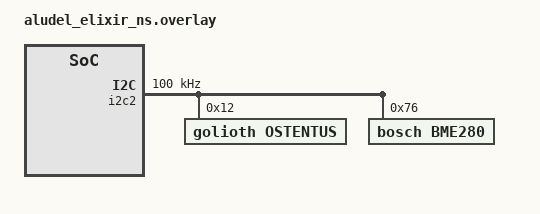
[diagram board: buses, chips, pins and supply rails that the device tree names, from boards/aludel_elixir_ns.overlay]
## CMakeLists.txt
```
# Copyright (c) 2022-2023 Golioth, Inc.
# SPDX-License-Identifier: Apache-2.0

cmake_minimum_required(VERSION 3.20.0)

if((BOARD STREQUAL nrf9160dk_nrf9160) OR (BOARD STREQUAL nrf9160dk_nrf9160_ns))
  set(SHIELD "arduino_uno_click")
endif()

find_package(Zephyr REQUIRED HINTS $ENV{ZEPHYR_BASE})

project(air_quality)

zephyr_include_directories(external/sensirion/embedded-common/common)
zephyr_include_directories(external/sensirion/embedded-common/i2c)
zephyr_include_directories(external/sensirion/embedded-i2c-scd4x)
zephyr_include_directories(external/sensirion/embedded-sps/sps-common)
zephyr_include_directories(external/sensirion/embedded-sps/sps30-i2c)

target_sources(app PRIVATE src/main.c)
target_sources(app PRIVATE src/app_rpc.c)
target_sources(app PRIVATE src/app_settings.c)
target_sources(app PRIVATE src/app_state.c)
target_sources(app PRIVATE src/app_sensors.c)
target_sources(app PRIVATE src/sensor_bme280.c)
target_sources(app PRIVATE src/sensor_scd4x.c)
target_sources(app PRIVATE src/sensor_sps30.c)
target_sources(app PRIVATE external/sensirion/embedded-common/common/sensirion_common.c)
target_sources(app PRIVATE external/sensirion/embedded-common/i2c/sensirion_i2c_hal.c)
target_sources(app PRIVATE external/sensirion/embedded-common/i2c/sensirion_i2c.c)
target_sources(app PRIVATE external/sensirion/embedded-i2c-scd4x/scd4x_i2c.c)
target_sources(app PRIVATE external/sensirion/embedded-sps/sps30-i2c/sps30.c)
```

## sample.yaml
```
# Copyright (c) 2022-2023 Golioth, Inc.
# SPDX-License-Identifier: Apache-2.0

sample:
  description: Golioth Reference Design - Air Quality Monitor
  name: air_quality
common:
  harness: net
  platform_allow: >
    nrf9160dk_nrf9160_ns
  tags: golioth
```

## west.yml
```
# Copyright (c) 2022-2023 Golioth, Inc.
# SPDX-License-Identifier: Apache-2.0

manifest:
  version: 1.0

  projects:
    - name: golioth
      path: modules/lib/golioth-firmware-sdk
      revision: v0.21.0
      url: https://github.com/golioth/golioth-firmware-sdk.git
      west-commands: scripts/west-commands.yml
      submodules: true
      import:
        file: west-ncs.yml
        path-prefix: deps
        name-allowlist:
          - nrf
          - zephyr
          - cmsis_6
          - hal_nordic
          - mbedtls
          - mbedtls-nrf
          - mcuboot
          - net-tools
          - nrfxlib
          - oberon-psa-crypto
          - qcbor
          - segger
          - tfm-mcuboot
          - tinycrypt
          - trusted-firmware-m
          - zcbor

    - name: golioth-zephyr-boards
      path: deps/modules/lib/golioth-boards
      revision: v2.1.1
      url: https://github.com/golioth/golioth-zephyr-boards

    - name: libostentus
      path: deps/modules/lib/libostentus
      revision: v2.0.0
      url: https://github.com/golioth/libostentus

    - name: zephyr-network-info
      path: deps/modules/lib/network-info
      revision: v1.2.0
      url: https://github.com/golioth/zephyr-network-info

    - name: golioth-battery-monitor
      path: deps/modules/lib/battery-monitor
      revision: v1.1.0
      url: https://github.com/golioth/battery-monitor

    - name: sensirion-embedded-common
      path: app/external/sensirion/embedded-common
      revision: 08c9924e33b69b650fa36eed6cbdd29479d25ab6
      url: https://github.com/golioth/sensirion-embedded-common.git

    - name: sensirion-embedded-i2c-scd4x
      path: app/external/sensirion/embedded-i2c-scd4x
      revision: fbfd86e8ea371894ae6473c48cf4f425c54360f0
      url: https://github.com/golioth/sensirion-embedded-i2c-scd4x.git

    - name: sensirion-embedded-sps
      path: app/external/sensirion/embedded-sps
      revision: ef781982b917249ebdafd30673b281b7c3f0764a
      url: https://github.com/golioth/sensirion-embedded-sps.git
  self:
    path: app
```

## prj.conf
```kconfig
# Copyright (c) 2022-2023 Golioth, Inc.
# SPDX-License-Identifier: Apache-2.0

# Enable Golioth Firmware SDK
CONFIG_GOLIOTH_FIRMWARE_SDK=y

# Golioth services used in this app
CONFIG_GOLIOTH_FW_UPDATE=y
CONFIG_GOLIOTH_LIGHTDB_STATE=y
CONFIG_LOG_BACKEND_GOLIOTH=y
CONFIG_GOLIOTH_RPC=y
CONFIG_GOLIOTH_SETTINGS=y
CONFIG_GOLIOTH_STREAM=y

# Increase the CoAP request queue size to prevent requests failing to enqueue
# (e.g. when the firmware boots and initially tries to connect to Golioth).
CONFIG_GOLIOTH_COAP_REQUEST_QUEUE_MAX_ITEMS=12

# Enable common sample library
CONFIG_GOLIOTH_SAMPLE_COMMON=y

# Configure Golioth SDK dependencies
CONFIG_ZVFS_EVENTFD_MAX=14
CONFIG_ZVFS_OPEN_MAX=23
CONFIG_LOG_PROCESS_THREAD_STACK_SIZE=1536
CONFIG_MBEDTLS_ENABLE_HEAP=y
CONFIG_MBEDTLS_HEAP_SIZE=10240
CONFIG_NETWORKING=y
CONFIG_NET_IPV4=y
CONFIG_COAP_EXTENDED_OPTIONS_LEN=y
CONFIG_COAP_EXTENDED_OPTIONS_LEN_VALUE=39

# Application
CONFIG_MAIN_STACK_SIZE=2048
CONFIG_NET_LOG=y
CONFIG_NET_SHELL=y
CONFIG_REBOOT=y

# Flash memory (etc.) for firmware upgrade
CONFIG_FLASH=y
CONFIG_FLASH_MAP=y
CONFIG_NVS=y
CONFIG_STREAM_FLASH=y
CONFIG_IMG_MANAGER=y
CONFIG_IMG_ERASE_PROGRESSIVELY=y
CONFIG_REBOOT=y

# The rest of the runtime credentials config
CONFIG_SETTINGS=y
CONFIG_SETTINGS_RUNTIME=y
CONFIG_GOLIOTH_SAMPLE_SETTINGS_AUTOLOAD=y
CONFIG_GOLIOTH_SAMPLE_SETTINGS_SHELL=y

# Misc.
CONFIG_JSON_LIBRARY=y

# Longer response length needed for network info
CONFIG_GOLIOTH_RPC_MAX_RESPONSE_LEN=512
# Longer log buffer needed for sps30
CONFIG_LOG_BACKEND_GOLIOTH_MAX_LOG_STRING_SIZE=320
CONFIG_I2C=y
CONFIG_SENSOR=y

# Floating point support for snprintk()
CONFIG_CBPRINTF_FP_SUPPORT=y
```

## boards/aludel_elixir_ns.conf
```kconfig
# Copyright (c) 2024 Golioth, Inc.
# SPDX-License-Identifier: Apache-2.0

# Battery Support
CONFIG_ALUDEL_BATTERY_MONITOR=y

# Turn on regulator to power click headers
CONFIG_REGULATOR=y

# Use a unique package name to use with Packages/Cohorts/Deployments
CONFIG_GOLIOTH_FW_UPDATE_PACKAGE_NAME="aludel_elixir"
```

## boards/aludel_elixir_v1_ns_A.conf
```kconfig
# Copyright (c) 2023 Golioth, Inc.
# SPDX-License-Identifier: Apache-2.0

# General config
CONFIG_HEAP_MEM_POOL_SIZE=4096
CONFIG_NEWLIB_LIBC=y
CONFIG_CBPRINTF_FP_SUPPORT=y

# Networking
CONFIG_NET_SOCKETS_OFFLOAD=y
CONFIG_NET_IPV6=y
CONFIG_NET_IPV6_NBR_CACHE=n
CONFIG_NET_IPV6_MLD=n

# Increase native TLS socket implementation, so that it is chosen instead of
# offloaded nRF91 sockets
CONFIG_NET_SOCKETS_TLS_PRIORITY=35

# Modem library
CONFIG_NRF_MODEM_LIB=y
CONFIG_NRF_MODEM_LIB_ON_FAULT_APPLICATION_SPECIFIC=y

# LTE connectivity with network connection manager
CONFIG_LTE_CONNECTIVITY=y
CONFIG_NET_CONNECTION_MANAGER=y
CONFIG_NET_CONNECTION_MANAGER_MONITOR_STACK_SIZE=1024

# Increased sysworkq size, due to LTE connectivity
CONFIG_SYSTEM_WORKQUEUE_STACK_SIZE=2048

# Disable options y-selected by NCS for no good reason
CONFIG_MBEDTLS_KEY_EXCHANGE_DHE_PSK_ENABLED=n
CONFIG_MBEDTLS_KEY_EXCHANGE_DHE_RSA_ENABLED=n

# Add Network Info Support
CONFIG_MODEM_INFO=y
CONFIG_GOLIOTH_RPC_MAX_RESPONSE_LEN=512

# Generate MCUboot compatible images
CONFIG_BOOTLOADER_MCUBOOT=y

# Use Golioth Ostentus Faceplate
CONFIG_LIB_OSTENTUS=y
```

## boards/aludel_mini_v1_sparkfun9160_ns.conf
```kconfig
# Copyright (c) 2022 Golioth, Inc.
# SPDX-License-Identifier: Apache-2.0

# General config
CONFIG_HEAP_MEM_POOL_SIZE=4096
CONFIG_NEWLIB_LIBC=y

# Networking
CONFIG_NET_NATIVE=n
CONFIG_NET_SOCKETS_OFFLOAD=y

# Increase native TLS socket implementation, so that it is chosen instead of
# offloaded nRF91 sockets
CONFIG_NET_SOCKETS_TLS_PRIORITY=35

# LTE link control
CONFIG_LTE_LINK_CONTROL=y
CONFIG_LTE_AUTO_INIT_AND_CONNECT=n

# Modem library
CONFIG_NRF_MODEM_LIB=y

# Use NCS fork of mbedTLS, as Zephyr built-in mbedTLS integration (CONFIG_MBEDTLS_BUILTIN) is in
# conflict with CONFIG_NRF_SECURITY
CONFIG_MBEDTLS_TLS_LIBRARY=y
CONFIG_MBEDTLS_SSL_PROTO_DTLS=y
CONFIG_MBEDTLS_GCM_C=y
# ... and disable options y-selected by NCS for no good reason
CONFIG_MBEDTLS_KEY_EXCHANGE_DHE_PSK_ENABLED=n
CONFIG_MBEDTLS_KEY_EXCHANGE_DHE_RSA_ENABLED=n
# ... also increase heap size to "high enough to make it work"
CONFIG_MBEDTLS_HEAP_SIZE=49152

# Battery Support
CONFIG_ALUDEL_BATTERY_MONITOR=y

# Add Network Info Support
CONFIG_MODEM_INFO=y
CONFIG_GOLIOTH_RPC_MAX_RESPONSE_LEN=512
```

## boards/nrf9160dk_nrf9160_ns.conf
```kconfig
# Use a unique package name to use with Packages/Cohorts/Deployments
CONFIG_GOLIOTH_FW_UPDATE_PACKAGE_NAME="nrf9160dk"
```

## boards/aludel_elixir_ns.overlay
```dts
/ {
	aliases {
		sensirion-hal-i2c = &i2c2;
	};
};

&i2c2 {
	/* Needed for I2C writes used by libostentus */
	zephyr,concat-buf-size = <48>;

	ostentus@12 {
		status = "okay";
		compatible = "golioth,ostentus";
		reg = <0x12>;
	};

	/* SPS30 max clock frequency is 100 kbit/s */
	clock-frequency = <I2C_BITRATE_STANDARD>;

	bme280: bme280@76 {
		compatible = "bosch,bme280";
		reg = <0x76>;
	};
};
```

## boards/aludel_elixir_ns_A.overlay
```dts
/*
 * Copyright (c) 2024 Golioth, Inc.
 *
 * SPDX-License-Identifier: Apache-2.0
 */

/ {
	aliases {
		sensirion-hal-i2c = &mikrobus_i2c;
	};
};

&mikrobus_i2c {
	status = "okay";
	/* SPS30 max clock frequency is 100 kbit/s */
	clock-frequency = <I2C_BITRATE_STANDARD>;

	bme280: bme280@76 {
		compatible = "bosch,bme280";
		reg = <0x76>;
	};
};
```

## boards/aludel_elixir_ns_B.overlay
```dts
/*
 * Copyright (c) 2024 Golioth, Inc.
 *
 * SPDX-License-Identifier: Apache-2.0
 */

/ {
	aliases {
		sensirion-hal-i2c = &mikrobus_i2c;
	};
};

&mikrobus_i2c {
	status = "okay";
	/* SPS30 max clock frequency is 100 kbit/s */
	clock-frequency = <I2C_BITRATE_STANDARD>;
};
```

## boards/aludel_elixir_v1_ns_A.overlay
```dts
/*
 * Copyright (c) 2023 Golioth, Inc.
 *
 * SPDX-License-Identifier: Apache-2.0
 */

mikrobus_i2c: &i2c2 {};

&mikrobus_i2c {
	bme280: bme280@76 {
		compatible = "bosch,bme280";
		reg = <0x76>;
	};
};
```

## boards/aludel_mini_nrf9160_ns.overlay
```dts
/ {
	aliases {
		sensirion-hal-i2c = &mikrobus_i2c;
	};
};

&mikrobus_i2c {
	/* Needed for I2C writes used by libostentus */
	zephyr,concat-buf-size = <48>;

	ostentus@12 {
		status = "okay";
		compatible = "golioth,ostentus";
		reg = <0x12>;
	};

	/* SPS30 max clock frequency is 100 kbit/s */
	clock-frequency = <I2C_BITRATE_STANDARD>;

	bme280: bme280@76 {
		compatible = "bosch,bme280";
		reg = <0x76>;
	};
};
```

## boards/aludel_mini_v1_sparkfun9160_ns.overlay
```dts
/*
 * Copyright (c) 2023 Golioth, Inc.
 *
 * SPDX-License-Identifier: Apache-2.0
 */

&i2c1 {
	status = "okay";

	/* SPS30 max clock frequency is 100 kbit/s */
	clock-frequency = <I2C_BITRATE_STANDARD>;

	bme280: bme280@76 {
		compatible = "bosch,bme280";
		reg = <0x76>;
	};
};
```

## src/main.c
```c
/*
 * Copyright (c) 2022-2023 Golioth, Inc.
 *
 * SPDX-License-Identifier: Apache-2.0
 */

#include <zephyr/logging/log.h>
#include <zephyr/logging/log_ctrl.h>
LOG_MODULE_REGISTER(golioth_air_quality, LOG_LEVEL_DBG);

#include <app_version.h>
#include "app_rpc.h"
#include "app_settings.h"
#include "app_state.h"
#include "app_sensors.h"
#include "sensor_scd4x.h"
#include "sensor_sps30.h"
#include <golioth/client.h>
#include <golioth/fw_update.h>
#include <samples/common/net_connect.h>
#include <samples/common/sample_credentials.h>
#include <zephyr/kernel.h>

#ifdef CONFIG_SOC_SERIES_NRF91X
#include <modem/lte_lc.h>
#endif
#ifdef CONFIG_LIB_OSTENTUS
#include <libostentus.h>
#include <libostentus_regmap.h>
static const struct device *o_dev = DEVICE_DT_GET_ANY(golioth_ostentus);
#endif
#ifdef CONFIG_ALUDEL_BATTERY_MONITOR
#include <battery_monitor.h>
#endif

#include <zephyr/drivers/gpio.h>

#ifdef CONFIG_MODEM_INFO
#include <modem/modem_info.h>
#endif

/* Current firmware version; update in VERSION */
static const char *_current_version =
	STRINGIFY(APP_VERSION_MAJOR) "." STRINGIFY(APP_VERSION_MINOR) "." STRINGIFY(APP_PATCHLEVEL);

static struct golioth_client *client;
K_SEM_DEFINE(connected, 0, 1);

static k_tid_t _system_thread = 0;

#if DT_NODE_EXISTS(DT_ALIAS(golioth_led))
static const struct gpio_dt_spec golioth_led = GPIO_DT_SPEC_GET(DT_ALIAS(golioth_led), gpios);
#endif /* DT_NODE_EXISTS(DT_ALIAS(golioth_led)) */
static const struct gpio_dt_spec user_btn = GPIO_DT_SPEC_GET(DT_ALIAS(sw1), gpios);
static struct gpio_callback button_cb_data;

/* Forward declarations */
void golioth_connection_led_set(uint8_t state);

void wake_system_thread(void)
{
	k_wakeup(_system_thread);
}

static void on_client_event(struct golioth_client *client, enum golioth_client_event event,
			    void *arg)
{
	bool is_connected = (event == GOLIOTH_CLIENT_EVENT_CONNECTED);

	if (is_connected) {
		k_sem_give(&connected);
		golioth_connection_led_set(1);
	}
	LOG_INF("Golioth client %s", is_connected ? "connected" : "disconnected");
}

static void start_golioth_client(void)
{
	/* Get the client configuration from auto-loaded settings */
	const struct golioth_client_config *client_config = golioth_sample_credentials_get();

	/* Create and start a Golioth Client */
	client = golioth_client_create(client_config);

	/* Register Golioth on_connect callback */
	golioth_client_register_event_callback(client, on_client_event, NULL);

	/* Initialize DFU components */
	golioth_fw_update_init(client, _current_version);

	/*** Call Golioth APIs for other services in dedicated app files ***/

	/* Observe State service data */
	app_state_observe(client);

	/* Set Golioth Client for streaming sensor data */
	app_sensors_set_client(client);

	/* Register Settings service */
	app_settings_register(client);

	/* Register RPC service */
	app_rpc_register(client);
}

#ifdef CONFIG_SOC_SERIES_NRF91X

static void lte_handler(const struct lte_lc_evt *const evt)
{
	if (evt->type == LTE_LC_EVT_NW_REG_STATUS) {

		if ((evt->nw_reg_status == LTE_LC_NW_REG_REGISTERED_HOME) ||
		    (evt->nw_reg_status == LTE_LC_NW_REG_REGISTERED_ROAMING)) {

			/* Change the state of the Internet LED on Ostentus */
			IF_ENABLED(CONFIG_LIB_OSTENTUS, (ostentus_led_internet_set(o_dev, 1);));

			if (!client) {
				/* Create and start a Golioth Client */
				start_golioth_client();
			}
		}
	}
}

#endif /* CONFIG_SOC_SERIES_NRF91X */

#ifdef CONFIG_MODEM_INFO
static void log_modem_firmware_version(void)
{
	char sbuf[128];

	/* Initialize modem info */
	int err = modem_info_init();

	if (err) {
		LOG_ERR("Failed to initialize modem info: %d", err);
	}

	/* Log modem firmware version */
	modem_info_string_get(MODEM_INFO_FW_VERSION, sbuf, sizeof(sbuf));
	LOG_INF("Modem firmware version: %s", sbuf);
}
#endif

void button_pressed(const struct device *dev, struct gpio_callback *cb, uint32_t pins)
{
	LOG_DBG("Button pressed at %d", k_cycle_get_32());
	/* This function is an Interrupt Service Routine. Do not call functions that
	 * use other threads, or perform long-running operations here
	 */
	k_wakeup(_system_thread);
}

/* Set (unset) LED indicators for active Golioth connection */
void golioth_connection_led_set(uint8_t state)
{
	uint8_t pin_state = state ? 1 : 0;
	ARG_UNUSED(pin_state); /* silence warning if no LED/Ostentus present */

	/* Turn on Golioth logo LED once connected */
	IF_ENABLED(DT_NODE_EXISTS(DT_ALIAS(golioth_led)),
		(gpio_pin_set_dt(&golioth_led, pin_state);));

	/* Change the state of the Golioth LED on Ostentus */
	IF_ENABLED(CONFIG_LIB_OSTENTUS, (ostentus_led_golioth_set(o_dev, pin_state);));
}

int main(void)
{
	int err;

	LOG_DBG("Started air quality monitor app");

	LOG_INF("Firmware version: %s", _current_version);
	IF_ENABLED(CONFIG_MODEM_INFO, (log_modem_firmware_version();));

	IF_ENABLED(CONFIG_LIB_OSTENTUS, (
		/* Reset Ostentus and pause for reboot */
		ostentus_reset(o_dev);
		k_msleep(300);

		/* Read firmware version from faceplate */
		char *o_version = (char *)calloc(32, sizeof(char));

		ostentus_version_get(o_dev, o_version, 32);
		LOG_INF("Ostentus reports firmware version: %s", o_version);
		free(o_version);

		/* Update Ostentus LEDS using bitmask (Power On and Battery) */
		ostentus_led_bitmask(o_dev, LED_POW | LED_BAT);

		/* Show Golioth Logo on Ostentus ePaper screen */
		ostentus_show_splash(o_dev);
	));

	/* Get system thread id so loop delay change event can wake main */
	_system_thread = k_current_get();

#if DT_NODE_EXISTS(DT_ALIAS(golioth_led))
	/* Initialize Golioth logo LED */
	err = gpio_pin_configure_dt(&golioth_led, GPIO_OUTPUT_INACTIVE);
	if (err) {
		LOG_ERR("Unable to configure LED for Golioth Logo");
	}
#endif /* DT_NODE_EXISTS(DT_ALIAS(golioth_led)) */

#ifdef CONFIG_SOC_SERIES_NRF91X
	/* Start LTE asynchronously if the nRF9160 is used.
	 * Golioth Client will start automatically when LTE connects
	 */

	LOG_INF("Connecting to LTE, this may take some time...");
	lte_lc_connect_async(lte_handler);

#else
	/* If nRF9160 is not used, start the Golioth Client and block until connected */

	/* Run WiFi/DHCP if necessary */
	if (IS_ENABLED(CONFIG_GOLIOTH_SAMPLE_COMMON)) {
		net_connect();
	}

	/* Start Golioth client */
	start_golioth_client();

	/* Block until connected to Golioth */
	k_sem_take(&connected, K_FOREVER);
#endif /* CONFIG_SOC_SERIES_NRF91X */

	/* Initialize sensors */
	app_sensors_init();

	/* Set up user button */
	err = gpio_pin_configure_dt(&user_btn, GPIO_INPUT);
	if (err) {
		LOG_ERR("Error %d: failed to configure %s pin %d", err, user_btn.port->name,
			user_btn.pin);
		return err;
	}

	err = gpio_pin_interrupt_configure_dt(&user_btn, GPIO_INT_EDGE_TO_ACTIVE);
	if (err) {
		LOG_ERR("Error %d: failed to configure interrupt on %s pin %d", err,
			user_btn.port->name, user_btn.pin);
		return err;
	}

	gpio_init_callback(&button_cb_data, button_pressed, BIT(user_btn.pin));
	gpio_add_callback(user_btn.port, &button_cb_data);

	IF_ENABLED(CONFIG_LIB_OSTENTUS, (
		/* Set up a slideshow on Ostentus
		 *  - add up to 256 slides
		 *  - use the enum in app_sensors.h to add new keys
		 *  - values are updated using these keys (see app_sensors.c)
		 */
		ostentus_slide_add(o_dev, CO2, LABEL_CO2, strlen(LABEL_CO2));
		ostentus_slide_add(o_dev, PM2P5, LABEL_PM2P5, strlen(LABEL_PM2P5));
		ostentus_slide_add(o_dev, PM10P0, LABEL_PM10P0, strlen(LABEL_PM10P0));
		ostentus_slide_add(o_dev,
				   TEMPERATURE,
				   LABEL_TEMPERATURE,
				   strlen(LABEL_TEMPERATURE));
		ostentus_slide_add(o_dev, PRESSURE, LABEL_PRESSURE, strlen(LABEL_PRESSURE));
		ostentus_slide_add(o_dev, HUMIDITY, LABEL_HUMIDITY, strlen(LABEL_HUMIDITY));

		IF_ENABLED(CONFIG_ALUDEL_BATTERY_MONITOR, (
			ostentus_slide_add(o_dev,
					   BATTERY_V,
					   LABEL_BATTERY,
					   strlen(LABEL_BATTERY));
			ostentus_slide_add(o_dev,
					   BATTERY_PCT,
					   LABEL_BATTERY,
					   strlen(LABEL_BATTERY));
		));

		ostentus_slide_add(o_dev, FIRMWARE, LABEL_FIRMWARE, strlen(LABEL_FIRMWARE));

		/* Set the title of the Ostentus summary slide (optional) */
		ostentus_summary_title(o_dev, SUMMARY_TITLE, strlen(SUMMARY_TITLE));

		/* Update the Firmware slide with the firmware version */
		ostentus_slide_set(o_dev, FIRMWARE, (char *)_current_version,
			  strlen(_current_version));

		/* Start Ostentus slideshow with 30 second delay between slides */
		ostentus_slideshow(o_dev, 30000);
	));

	while (true) {
		app_sensors_read_and_stream();

		k_sleep(K_SECONDS(get_loop_delay_s()));
	}

	return 0;
}
```

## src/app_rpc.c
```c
/*
 * Copyright (c) 2022-2023 Golioth, Inc.
 *
 * SPDX-License-Identifier: Apache-2.0
 */

#include <zephyr/logging/log.h>
LOG_MODULE_REGISTER(app_rpc, LOG_LEVEL_DBG);

#include <golioth/client.h>
#include <golioth/rpc.h>
#include <zephyr/logging/log_ctrl.h>
#include <zephyr/sys/reboot.h>
#ifdef CONFIG_NETWORK_INFO
#include <network_info.h>
#endif

#include <zcbor_common.h>

#include "app_rpc.h"
#include "sensor_scd4x.h"
#include "sensor_sps30.h"

static void reboot_work_handler(struct k_work *work)
{
	for (int8_t i = 5; i >= 0; i--) {
		if (i) {
			LOG_INF("Rebooting in %d seconds...", i);
		}
		k_sleep(K_SECONDS(1));
	}

	/* Sync logs before reboot */
	LOG_PANIC();

	sys_reboot(SYS_REBOOT_COLD);
}
K_WORK_DEFINE(reboot_work, reboot_work_handler);

static void clean_pm_sensor_work_handler(struct k_work *work)
{
	sps30_sensor_clean_fan();
}
K_WORK_DEFINE(clean_pm_sensor_work, clean_pm_sensor_work_handler);

static void reset_pm_sensor_work_handler(struct k_work *work)
{
	sps30_sensor_init();
}
K_WORK_DEFINE(reset_pm_sensor_work, reset_pm_sensor_work_handler);

static enum golioth_rpc_status on_get_network_info(zcbor_state_t *request_params_array,
						   zcbor_state_t *response_detail_map,
						   void *callback_arg)
{
	COND_CODE_1(CONFIG_NETWORK_INFO,
		    (network_info_add_to_map(response_detail_map); return GOLIOTH_RPC_OK;),
		    (return GOLIOTH_RPC_UNIMPLEMENTED););
}

static enum golioth_rpc_status on_set_log_level(zcbor_state_t *request_params_array,
						zcbor_state_t *response_detail_map,
						void *callback_arg)
{
	double param_0;
	uint8_t log_level;
	bool ok;

	LOG_WRN("on_set_log_level");

	ok = zcbor_float_decode(request_params_array, &param_0);
	if (!ok) {
		LOG_ERR("Failed to decode array item");
		return GOLIOTH_RPC_INVALID_ARGUMENT;
	}

	log_level = (uint8_t)param_0;

	if ((log_level < 0) || (log_level > LOG_LEVEL_DBG)) {

		LOG_ERR("Requested log level is out of bounds: %d", log_level);
		return GOLIOTH_RPC_INVALID_ARGUMENT;
	}

	int source_id = 0;
	char *source_name;

	while (1) {
		source_name = (char *)log_source_name_get(0, source_id);
		if (source_name == NULL) {
			break;
		}

		log_filter_set(NULL, 0, source_id, log_level);
		++source_id;
	}

	LOG_WRN("Log levels for %d modules set to: %d", source_id, log_level);

	ok = zcbor_tstr_put_lit(response_detail_map, "log_modules") &&
	     zcbor_float64_put(response_detail_map, (double)source_id);

	return GOLIOTH_RPC_OK;
}

static enum golioth_rpc_status on_reboot(zcbor_state_t *request_params_array,
					 zcbor_state_t *response_detail_map, void *callback_arg)
{
	/* Use work queue so this RPC can return confirmation to Golioth */
	k_work_submit(&reboot_work);

	return GOLIOTH_RPC_OK;
}

static enum golioth_rpc_status on_clean_pm_sensor(zcbor_state_t *request_params_array,
						  zcbor_state_t *response_detail_map,
						  void *callback_arg)
{
	k_work_submit(&clean_pm_sensor_work);

	return GOLIOTH_RPC_OK;
}

static enum golioth_rpc_status on_reset_pm_sensor(zcbor_state_t *request_params_array,
						  zcbor_state_t *response_detail_map,
						  void *callback_arg)
{
	k_work_submit(&reset_pm_sensor_work);

	return GOLIOTH_RPC_OK;
}

static void rpc_log_if_register_failure(int err)
{
	if (err) {
		LOG_ERR("Failed to register RPC: %d", err);
	}
}

void app_rpc_register(struct golioth_client *client)
{
	struct golioth_rpc *rpc = golioth_rpc_init(client);

	int err;

	err = golioth_rpc_register(rpc, "get_network_info", on_get_network_info, NULL);
	rpc_log_if_register_failure(err);

	err = golioth_rpc_register(rpc, "reboot", on_reboot, NULL);
	rpc_log_if_register_failure(err);

	err = golioth_rpc_register(rpc, "set_log_level", on_set_log_level, NULL);
	rpc_log_if_register_failure(err);

	err = golioth_rpc_register(rpc, "clean_pm_sensor", on_clean_pm_sensor, NULL);
	rpc_log_if_register_failure(err);

	err = golioth_rpc_register(rpc, "reset_pm_sensor", on_reset_pm_sensor, NULL);
	rpc_log_if_register_failure(err);
}
```

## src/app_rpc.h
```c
/*
 * Copyright (c) 2022-2023 Golioth, Inc.
 *
 * SPDX-License-Identifier: Apache-2.0
 */

/**
 * Handle remote procedure calls received from Golioth, returning a status code
 * indicating the success or failure of the call.
 *
 * https://docs.golioth.io/firmware/zephyr-device-sdk/remote-procedure-call
 */

#ifndef __APP_RPC_H__
#define __APP_RPC_H__

#include <golioth/client.h>

void app_rpc_register(struct golioth_client *client);

#endif /* __APP_RPC_H__ */
```

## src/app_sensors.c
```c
/*
 * Copyright (c) 2022-2023 Golioth, Inc.
 *
 * SPDX-License-Identifier: Apache-2.0
 */

#include <zephyr/logging/log.h>
LOG_MODULE_REGISTER(app_sensors, LOG_LEVEL_DBG);

#include <golioth/client.h>
#include <golioth/stream.h>
#include <zcbor_encode.h>
#include <zephyr/drivers/gpio.h>
#include <zephyr/kernel.h>
#include <zephyr/drivers/sensor.h>

#include "app_sensors.h"
#include "sensor_bme280.h"
#include "sensor_scd4x.h"
#include "sensor_sps30.h"

#ifdef CONFIG_LIB_OSTENTUS
#include <libostentus.h>
static const struct device *o_dev = DEVICE_DT_GET_ANY(golioth_ostentus);
#endif
#ifdef CONFIG_ALUDEL_BATTERY_MONITOR
#include <battery_monitor.h>
#endif

static struct golioth_client *client;

/* Formatting string for sending sensor JSON to Golioth */
/* clang-format off */
#define JSON_FMT \
"{" \
	"\"tem\":%f," \
	"\"pre\":%f," \
	"\"hum\":%f," \
	"\"co2\":%u," \
	"\"mc_1p0\":%f," \
	"\"mc_2p5\":%f," \
	"\"mc_4p0\":%f," \
	"\"mc_10p0\":%f," \
	"\"nc_0p5\":%f," \
	"\"nc_1p0\":%f," \
	"\"nc_2p5\":%f," \
	"\"nc_4p0\":%f," \
	"\"nc_10p0\":%f," \
	"\"tps\":%f" \
"}"
/* clang-format on */

#define JSON_BUF_SIZE 512

void app_sensors_init(void)
{
	/* Initialize weather sensor */
	bme280_sensor_init();

	/* Initialize CO₂ sensor */
	scd4x_sensor_init();

	/* Initialize PM sensor */
	sps30_sensor_init();
}

/* Callback for LightDB Stream */
static void async_error_handler(struct golioth_client *client, enum golioth_status status,
				const struct golioth_coap_rsp_code *coap_rsp_code, const char *path,
				void *arg)
{
	if (status != GOLIOTH_OK) {
		LOG_ERR("Async task failed: %d", status);
		return;
	}
}

/* This will be called by the main() loop */
/* Do all of your work here! */
void app_sensors_read_and_stream(void)
{
	int err;
	static struct bme280_sensor_measurement bme280_sm;
	static struct scd4x_sensor_measurement scd4x_sm;
	static struct sps30_sensor_measurement sps30_sm;

	/* Golioth custom hardware for demos */
	IF_ENABLED(CONFIG_ALUDEL_BATTERY_MONITOR, (
		LOG_DBG("Collecting battery measurements...");
		read_and_report_battery(client);
		IF_ENABLED(CONFIG_LIB_OSTENTUS, (
			ostentus_slide_set(o_dev,
					   BATTERY_V,
					   get_batt_v_str(),
					   strlen(get_batt_v_str()));
			ostentus_slide_set(o_dev,
					   BATTERY_PCT,
					   get_batt_pct_str(),
					   strlen(get_batt_pct_str()));
		));
	));

	LOG_DBG("Collecting sensor measurements...");

	/* Read the weather sensor */
	err = bme280_sensor_read(&bme280_sm);
	if (err) {
		LOG_ERR("Failed to read from Weather Sensor BME280: %d", err);
	} else {
		bme280_log_measurements(&bme280_sm);
	}

	/* Read the CO₂ sensor */
	err = scd4x_sensor_read(&scd4x_sm);
	if (err) {
		LOG_ERR("Failed to read from Co2 Sensor SCD4x: %d", err);
	} else {
		scd4x_log_measurements(&scd4x_sm);
	}

	/* Read the PM sensor */
	err = sps30_sensor_read(&sps30_sm);
	if (err) {
		LOG_ERR("Failed to read from PM Sensor SPS30: %d", err);
	} else {
		sps30_log_measurements(&sps30_sm);
	}

	/* Send sensor data to Golioth */
	char *json_buf = malloc(sizeof(char) * JSON_BUF_SIZE);

	if (!json_buf) {
		LOG_ERR("Unable to allocate memory for JSON buffer. Reading will not be sent.");
		return;
	}

	if (golioth_client_is_connected(client)) {
		LOG_DBG("Sending sensor data to Golioth");

		snprintk(json_buf, JSON_BUF_SIZE, JSON_FMT,
			sensor_value_to_double(&bme280_sm.temperature),
			sensor_value_to_double(&bme280_sm.pressure),
			sensor_value_to_double(&bme280_sm.humidity), scd4x_sm.co2,
			sensor_value_to_double(&sps30_sm.mc_1p0), sensor_value_to_double(&sps30_sm.mc_2p5),
			sensor_value_to_double(&sps30_sm.mc_4p0),
			sensor_value_to_double(&sps30_sm.mc_10p0),
			sensor_value_to_double(&sps30_sm.nc_0p5), sensor_value_to_double(&sps30_sm.nc_1p0),
			sensor_value_to_double(&sps30_sm.nc_2p5), sensor_value_to_double(&sps30_sm.nc_4p0),
			sensor_value_to_double(&sps30_sm.nc_10p0),
			sensor_value_to_double(&sps30_sm.typical_particle_size));

		/* LOG_DBG("%s", json_buf); */

		err = golioth_stream_set_async(client,
					"sensor",
					GOLIOTH_CONTENT_TYPE_JSON,
					json_buf,
					strlen(json_buf),
					async_error_handler,
					NULL);
		if (err) {
			LOG_ERR("Failed to send sensor data to Golioth: %d", err);
		}
	} else {
		LOG_WRN("Device is not connected to Golioth, unable to send sensor data");
	}


	/* Golioth custom hardware for demos */
	IF_ENABLED(CONFIG_LIB_OSTENTUS, (
		/* Update slide values on Ostentus
		 *  -values should be sent as strings
		 *  -use the enum from app_sensors.h for slide key values
		 */
		snprintk(json_buf, JSON_BUF_SIZE, "%.2f °C",
			 sensor_value_to_double(&bme280_sm.temperature));
		ostentus_slide_set(o_dev, TEMPERATURE, json_buf, strlen(json_buf));

		snprintk(json_buf, JSON_BUF_SIZE, "%.2f kPa",
			 sensor_value_to_double(&bme280_sm.pressure));
		ostentus_slide_set(o_dev, PRESSURE, json_buf, strlen(json_buf));

		snprintk(json_buf, JSON_BUF_SIZE, "%.2f %%RH",
			 sensor_value_to_double(&bme280_sm.humidity));
		ostentus_slide_set(o_dev, HUMIDITY, json_buf, strlen(json_buf));

		snprintk(json_buf, JSON_BUF_SIZE, "%u ppm", scd4x_sm.co2);
		ostentus_slide_set(o_dev, CO2, json_buf, strlen(json_buf));

		snprintk(json_buf, JSON_BUF_SIZE, "%d ug/m^3", sps30_sm.mc_2p5.val1);
		ostentus_slide_set(o_dev, PM2P5, json_buf, strlen(json_buf));

		snprintk(json_buf, JSON_BUF_SIZE, "%d ug/m^3", sps30_sm.mc_10p0.val1);
		ostentus_slide_set(o_dev, PM10P0, json_buf, strlen(json_buf));
	));

	free(json_buf);
}

void app_sensors_set_client(struct golioth_client *sensors_client)
{
	client = sensors_client;
}
```

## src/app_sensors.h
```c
/*
 * Copyright (c) 2023 Golioth, Inc.
 *
 * SPDX-License-Identifier: Apache-2.0
 */

#ifndef __APP_SENSORS_H__
#define __APP_SENSORS_H__

/** The `app_sensors.c` file performs the important work of this application
 * which is to read sensor values and report them to the Golioth LightDB Stream
 * as time-series data.
 *
 * https://docs.golioth.io/firmware/zephyr-device-sdk/light-db-stream/
 */

#include <golioth/client.h>

void app_sensors_init(void);
void app_sensors_set_client(struct golioth_client *sensors_client);
void app_sensors_read_and_stream(void);

#define LABEL_TEMPERATURE "Temperature"
#define LABEL_PRESSURE	  "Pressure"
#define LABEL_HUMIDITY	  "Humidity"
#define LABEL_CO2	  "CO2"
#define LABEL_PM2P5	  "PM2.5"
#define LABEL_PM10P0	  "PM10.0"
#define LABEL_BATTERY	  "Battery"
#define LABEL_FIRMWARE	  "Firmware"
#define SUMMARY_TITLE	  "Air Quality"

/**
 * Each Ostentus slide needs a unique key. You may add additional slides by
 * inserting elements with the name of your choice to this enum.
 */
typedef enum {
	TEMPERATURE,
	PRESSURE,
	HUMIDITY,
	CO2,
	PM2P5,
	PM10P0,
#ifdef CONFIG_ALUDEL_BATTERY_MONITOR
	BATTERY_V,
	BATTERY_PCT,
#endif
	FIRMWARE
} slide_key;

#endif /* __APP_SENSORS_H__ */
```

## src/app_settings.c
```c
/*
 * Copyright (c) 2022-2023 Golioth, Inc.
 *
 * SPDX-License-Identifier: Apache-2.0
 */

#include <zephyr/logging/log.h>
LOG_MODULE_REGISTER(app_settings, LOG_LEVEL_DBG);

#include <golioth/client.h>
#include <golioth/settings.h>
#include "main.h"
#include "app_settings.h"
#include "sensor_scd4x.h"
#include "sensor_sps30.h"

static int32_t _loop_delay_s = 60;
#define LOOP_DELAY_S_MAX 43200
#define LOOP_DELAY_S_MIN 1

static int32_t _scd4x_temperature_offset_s = 4;
static uint16_t _scd4x_altitude_s;
static bool _scd4x_asc_s = true;
static uint32_t _sps30_samples_per_measurement_s = 30;
static uint32_t _sps30_cleaning_interval_s = 604800;

int32_t get_loop_delay_s(void)
{
	return _loop_delay_s;
}

int32_t get_scd4x_temperature_offset_s(void)
{
	return _scd4x_temperature_offset_s;
}

uint16_t get_scd4x_altitude_s(void)
{
	return _scd4x_altitude_s;
}

bool get_scd4x_asc_s(void)
{
	return _scd4x_asc_s;
}

uint32_t get_sps30_samples_per_measurement_s(void)
{
	return _sps30_samples_per_measurement_s;
}

uint32_t get_sps30_cleaning_interval_s(void)
{
	return _sps30_cleaning_interval_s;
}

/* Work items for settings that need to be written to hardware sensors */
static void scd4x_sensor_set_temperature_offset_work_handler(struct k_work *work)
{
	scd4x_sensor_set_temperature_offset(_scd4x_temperature_offset_s);
}
K_WORK_DEFINE(scd4x_sensor_set_temperature_offset_work,
	      scd4x_sensor_set_temperature_offset_work_handler);

static void scd4x_sensor_set_sensor_altitude_work_handler(struct k_work *work)
{
	scd4x_sensor_set_sensor_altitude(_scd4x_altitude_s);
}
K_WORK_DEFINE(scd4x_sensor_set_sensor_altitude_work, scd4x_sensor_set_sensor_altitude_work_handler);

static void scd4x_sensor_set_automatic_self_calibration_work_handler(struct k_work *work)
{
	scd4x_sensor_set_automatic_self_calibration(_scd4x_asc_s);
}
K_WORK_DEFINE(scd4x_sensor_set_automatic_self_calibration_work,
	      scd4x_sensor_set_automatic_self_calibration_work_handler);

static void sps30_sensor_set_fan_auto_cleaning_interval_work_handler(struct k_work *work)
{
	sps30_sensor_set_fan_auto_cleaning_interval(_sps30_cleaning_interval_s);
}
K_WORK_DEFINE(sps30_sensor_set_fan_auto_cleaning_interval_work,
	      sps30_sensor_set_fan_auto_cleaning_interval_work_handler);

static enum golioth_settings_status on_loop_delay_setting(int32_t new_value, void *arg)
{
	_loop_delay_s = new_value;
	LOG_INF("Set loop delay to %i seconds", new_value);
	wake_system_thread();
	return GOLIOTH_SETTINGS_SUCCESS;
}

static enum golioth_settings_status on_scd4x_temperature_offset_setting(int32_t new_value,
									void *arg)
{
	_scd4x_temperature_offset_s = new_value;
	LOG_INF("Set SCD4x temperature offset to %i degrees", _scd4x_temperature_offset_s);
	/* Submit a work item to write this setting to the sensor */
	k_work_submit(&scd4x_sensor_set_temperature_offset_work);
	return GOLIOTH_SETTINGS_SUCCESS;
}

static enum golioth_settings_status on_scd4x_altitude_setting(int32_t new_value, void *arg)
{
	_scd4x_altitude_s = (uint16_t)new_value;
	LOG_INF("Set SCD4x altitude to %u feet", _scd4x_altitude_s);
	/* Submit a work item to write this setting to the sensor */
	k_work_submit(&scd4x_sensor_set_sensor_altitude_work);
	return GOLIOTH_SETTINGS_SUCCESS;
}

static enum golioth_settings_status on_scd4x_asc_setting(bool new_value, void *arg)
{
	_scd4x_asc_s = new_value;
	LOG_INF("Set SCD4x ASC to %s", _scd4x_asc_s ? "true" : "false");
	/* Submit a work item to write this setting to the sensor */
	k_work_submit(&scd4x_sensor_set_automatic_self_calibration_work);
	return GOLIOTH_SETTINGS_SUCCESS;
}

static enum golioth_settings_status on_sps30_samples_per_measurement_setting(int32_t new_value,
									     void *arg)
{
	_sps30_samples_per_measurement_s = (uint32_t)new_value;
	LOG_INF("Set SPS30 samples per measurement to %i", _sps30_samples_per_measurement_s);
	return GOLIOTH_SETTINGS_SUCCESS;
}

static enum golioth_settings_status on_sps30_cleaning_interval_setting(int32_t new_value, void *arg)
{
	_sps30_cleaning_interval_s = (uint32_t)new_value;
	LOG_INF("Set SPS30 cleaning interval to %i seconds", _sps30_cleaning_interval_s);
	/* Submit a work item to write this setting to the sensor */
	k_work_submit(&sps30_sensor_set_fan_auto_cleaning_interval_work);
	return GOLIOTH_SETTINGS_SUCCESS;
}

int app_settings_register(struct golioth_client *client)
{
	int err;

	struct golioth_settings *settings = golioth_settings_init(client);

	err = golioth_settings_register_int_with_range(settings,
							   "LOOP_DELAY_S",
							   LOOP_DELAY_S_MIN,
							   LOOP_DELAY_S_MAX,
							   on_loop_delay_setting,
							   NULL);
	if (err) {
		LOG_ERR("Failed to register on_loop_delay_setting callback: %d", err);
		return err;
	}

	err = golioth_settings_register_int_with_range(settings,
							   "CO2_SENSOR_TEMPERATURE_OFFSET",
							   INT32_MIN,
							   INT32_MAX,
							   on_scd4x_temperature_offset_setting,
							   NULL);
	if (err) {
		LOG_ERR("Failed to register on_scd4x_temperature_offset_setting callback: %d", err);
		return err;
	}

	err = golioth_settings_register_int_with_range(settings,
							   "CO2_SENSOR_ALTITUDE",
							   0,
							   UINT16_MAX,
							   on_scd4x_altitude_setting,
							   NULL);
	if (err) {
		LOG_ERR("Failed to register on_scd4x_altitude_setting callback: %d", err);
		return err;
	}

	err = golioth_settings_register_bool(settings,
						 "CO2_SENSOR_ASC_ENABLE",
						 on_scd4x_asc_setting,
						 NULL);
	if (err) {
		LOG_ERR("Failed to register on_scd4x_asc_setting callback: %d", err);
		return err;
	}

	err = golioth_settings_register_int_with_range(settings,
							   "PM_SENSOR_SAMPLES_PER_MEASUREMENT",
							   0,
							   INT32_MAX,
							   on_sps30_samples_per_measurement_setting,
							   NULL);
	if (err) {
		LOG_ERR("Failed to register on_sps30_samples_per_measurement_setting callback: %d",
			err);
			return err;
	}

	err = golioth_settings_register_int_with_range(settings,
							   "PM_SENSOR_AUTO_CLEANING_INTERVAL",
							   0,
							   INT32_MAX,
							   on_sps30_cleaning_interval_setting,
							   NULL);
	if (err) {
		LOG_ERR("Failed to register on_sps30_cleaning_interval_setting callback: %d", err);
		return err;
	}

	return 0;
}
```

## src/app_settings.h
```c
/*
 * Copyright (c) 2022-2023 Golioth, Inc.
 *
 * SPDX-License-Identifier: Apache-2.0
 */

/**
 * Process changes received from the Golioth Settings Service and return a code
 * to Golioth to indicate the success or failure of the update.
 *
 * https://docs.golioth.io/firmware/zephyr-device-sdk/device-settings-service
 */

#ifndef __APP_SETTINGS_H__
#define __APP_SETTINGS_H__

#include <stdint.h>
#include <golioth/client.h>

int32_t get_loop_delay_s(void);
int app_settings_register(struct golioth_client *client);
int32_t get_scd4x_temperature_offset_s(void);
uint16_t get_scd4x_altitude_s(void);
bool get_scd4x_asc_s(void);
uint32_t get_sps30_samples_per_measurement_s(void);

#endif /* __APP_SETTINGS_H__ */
```

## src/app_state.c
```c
/*
 * Copyright (c) 2022-2023 Golioth, Inc.
 *
 * SPDX-License-Identifier: Apache-2.0
 */

#include <zephyr/logging/log.h>
LOG_MODULE_REGISTER(app_state, LOG_LEVEL_DBG);

#include <golioth/client.h>
#include <golioth/lightdb_state.h>
#include <zephyr/data/json.h>
#include <zephyr/kernel.h>
#include "json_helper.h"

#include "app_state.h"
#include "app_sensors.h"

#define DEVICE_STATE_FMT "{\"example_int0\":%d,\"example_int1\":%d}"

static uint32_t _example_int0;
static uint32_t _example_int1 = 1;

static struct golioth_client *client;

static void async_handler(struct golioth_client *client,
			  enum golioth_status status,
			  const struct golioth_coap_rsp_code *coap_rsp_code,
			  const char *path,
			  void *arg)
{
	if (status != GOLIOTH_OK) {
		LOG_WRN("Failed to set state: %d", status);
		return;
	}

	LOG_DBG("State successfully set");
}

int app_state_reset_desired(void)
{
	LOG_INF("Resetting \"%s\" LightDB State endpoint to defaults.", APP_STATE_DESIRED_ENDP);

	char sbuf[sizeof(DEVICE_STATE_FMT) + 4]; /* space for two "-1" values */

	snprintk(sbuf, sizeof(sbuf), DEVICE_STATE_FMT, -1, -1);

	int err;
	err = golioth_lightdb_set_async(client,
					APP_STATE_DESIRED_ENDP,
					GOLIOTH_CONTENT_TYPE_JSON,
					sbuf,
					strlen(sbuf),
					async_handler,
					NULL);
	if (err) {
		LOG_ERR("Unable to write to LightDB State: %d", err);
	}

	return err;
}

int app_state_update_actual(void)
{

	char sbuf[sizeof(DEVICE_STATE_FMT) + 10]; /* space for uint16 values */

	snprintk(sbuf, sizeof(sbuf), DEVICE_STATE_FMT, _example_int0, _example_int1);

	int err;

	err = golioth_lightdb_set_async(client,
					APP_STATE_ACTUAL_ENDP,
					GOLIOTH_CONTENT_TYPE_JSON,
					sbuf,
					strlen(sbuf),
					async_handler,
					NULL);

	if (err) {
		LOG_ERR("Unable to write to LightDB State: %d", err);
	}

	return err;
}

static void app_state_desired_handler(struct golioth_client *client, enum golioth_status status,
				      const struct golioth_coap_rsp_code *coap_rsp_code,
				      const char *path, const uint8_t *payload, size_t payload_size,
				      void *arg)
{
	int err = 0;
	int ret;

	if (status != GOLIOTH_OK) {
		LOG_ERR("Failed to receive '%s' endpoint: %d", APP_STATE_DESIRED_ENDP, status);
		return;
	}

	LOG_HEXDUMP_DBG(payload, payload_size, APP_STATE_DESIRED_ENDP);

	struct app_state parsed_state;

	ret = json_obj_parse((char *)payload, payload_size, app_state_descr,
			     ARRAY_SIZE(app_state_descr), &parsed_state);

	if (ret < 0) {
		LOG_ERR("Error parsing desired values: %d", ret);
		app_state_reset_desired();
		return;
	}

	uint8_t desired_processed_count = 0;
	uint8_t state_change_count = 0;

	if (ret & 1 << 0) {
		/* Process example_int0 */
		if ((parsed_state.example_int0 >= 0) && (parsed_state.example_int0 < 65536)) {
			LOG_DBG("Validated desired example_int0 value: %d", parsed_state.example_int0);
			if (_example_int0 != parsed_state.example_int0) {
				_example_int0 = parsed_state.example_int0;
				++state_change_count;
			}
			++desired_processed_count;
		} else if (parsed_state.example_int0 == -1) {
			LOG_DBG("No change requested for example_int0");
		} else {
			LOG_ERR("Invalid desired example_int0 value: %d", parsed_state.example_int0);
			++desired_processed_count;
		}
	}
	if (ret & 1 << 1) {
		/* Process example_int1 */
		if ((parsed_state.example_int1 >= 0) && (parsed_state.example_int1 < 65536)) {
			LOG_DBG("Validated desired example_int1 value: %d", parsed_state.example_int1);
			if (_example_int1 != parsed_state.example_int1) {
				_example_int1 = parsed_state.example_int1;
				++state_change_count;
			}
			++desired_processed_count;
		} else if (parsed_state.example_int1 == -1) {
			LOG_DBG("No change requested for example_int1");
		} else {
			LOG_ERR("Invalid desired example_int1 value: %d", parsed_state.example_int1);
			++desired_processed_count;
		}
	}

	if (state_change_count) {
		/* The state was changed, so update the state on the Golioth servers */
		err = app_state_update_actual();
	}
	if (desired_processed_count) {
		/* We processed some desired changes to return these to -1 on the server
		 * to indicate the desired values were received.
		 */
		err = app_state_reset_desired();
	}

	if (err) {
		LOG_ERR("Failed to update cloud state: %d", err);
	}
}

int app_state_observe(struct golioth_client *state_client)
{
	int err;

	client = state_client;

	err = golioth_lightdb_observe_async(client,
					    APP_STATE_DESIRED_ENDP,
					    GOLIOTH_CONTENT_TYPE_JSON,
					    app_state_desired_handler,
					    NULL);
	if (err) {
		LOG_WRN("failed to observe lightdb path: %d", err);
		return err;
	}

	/* This will only run once. It updates the actual state of the device
	 * with the Golioth servers. Future updates will be sent whenever
	 * changes occur.
	 */
	err = app_state_update_actual();

	return err;
}
```

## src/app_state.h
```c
/*
 * Copyright (c) 2023 Golioth, Inc.
 *
 * SPDX-License-Identifier: Apache-2.0
 */

/** Observe and write to example endpoints for stateful data on the Golioth
 * LightDB State Service.
 *
 * This demonstration exhibits (the concept of Digital
 * Twin)[https://blog.golioth.io/better-iot-design-patterns-desired-state-vs-actual-state/].
 * It implements a _desired_ state which the cloud can set to request the device
 * change its state, and an _actual_ state where the device reports its state.
 *
 * After receiving and processing a desired state, the device will reset the
 * desired state (`APP_STATE_DESIRED_ENDP`) to `-1` indicating the data has been
 * processed, and update the actual state (`APP_STATE_ACTUAL_ENDP`) to report
 * the new state of the device.
 *
 * The device should write to the _actual state_ endpoint, the cloud should not.
 * By convention the cloud should consider the _actual state_ values read-only.
 *
 * https://docs.golioth.io/firmware/zephyr-device-sdk/light-db/
 */

#ifndef __APP_STATE_H__
#define __APP_STATE_H__

#include <net/golioth/system_client.h>

#define APP_STATE_DESIRED_ENDP "desired"
#define APP_STATE_ACTUAL_ENDP  "state"

void app_state_init(struct golioth_client *state_client);
int app_state_observe(void);
int app_state_update_actual(void);

#endif /* __APP_STATE_H__ */
```

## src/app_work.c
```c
/*
 * Copyright (c) 2022-2023 Golioth, Inc.
 *
 * SPDX-License-Identifier: Apache-2.0
 */

#include <zephyr/logging/log.h>
LOG_MODULE_REGISTER(app_work, LOG_LEVEL_DBG);

#include <net/golioth/system_client.h>
#include <zephyr/drivers/gpio.h>
#include <zephyr/drivers/sensor.h>

#include "app_work.h"
#include "sensors.h"

#ifdef CONFIG_LIB_OSTENTUS
#include <libostentus.h>
#endif
#ifdef CONFIG_ALUDEL_BATTERY_MONITOR
#include "battery_monitor/battery.h"
#endif

static struct golioth_client *client;

/* Sensor readings */
static struct bme280_sensor_measurement bme280_sm;
static struct scd4x_sensor_measurement scd4x_sm;
static struct sps30_sensor_measurement sps30_sm;

/* Formatting string for sending sensor JSON to Golioth */
#define JSON_FMT "{\"tem\":%f,\"pre\":%f,\"hum\":%f,\"co2\":%u,\"mc_1p0\":%f,\"mc_2p5\":%f,\"mc_4p0\":%f,\"mc_10p0\":%f,\"nc_0p5\":%f,\"nc_1p0\":%f,\"nc_2p5\":%f,\"nc_4p0\":%f,\"nc_10p0\":%f,\"tps\":%f}"

/* Callback for LightDB Stream */
static int async_error_handler(struct golioth_req_rsp *rsp)
{
	if (rsp->err) {
		LOG_ERR("Async task failed: %d", rsp->err);
		return rsp->err;
	}
	return 0;
}

/* This will be called by the main() loop */
/* Do all of your work here! */
void app_work_sensor_read(void)
{
	int err;
	char json_buf[512];

	LOG_DBG("Collecting battery measurements...");

	IF_ENABLED(CONFIG_ALUDEL_BATTERY_MONITOR, (
		read_and_report_battery();
		IF_ENABLED(CONFIG_LIB_OSTENTUS, (
			slide_set(BATTERY_V, get_batt_v_str(), strlen(get_batt_v_str()));
			slide_set(BATTERY_LVL, get_batt_lvl_str(), strlen(get_batt_lvl_str()));
		));
	));

	LOG_DBG("Collecting sensor measurements...");

	/* Read the weather sensor */
	err = bme280_sensor_read(&bme280_sm);
	if (err) {
		LOG_ERR("Failed to read from Weather Sensor BME280: %d", err);
	} else {
		LOG_DBG("BME280: Temperature=%.2f °C, Pressure=%.2f kPa, Humidity=%.2f %%RH",
			sensor_value_to_double(&bme280_sm.temperature),
			sensor_value_to_double(&bme280_sm.pressure),
			sensor_value_to_double(&bme280_sm.humidity));
	}

	/* Read the CO₂ sensor */
	err = scd4x_sensor_read(&scd4x_sm);
	if (err) {
		LOG_ERR("Failed to read from Co2 Sensor SCD4x: %d", err);
	} else {
		LOG_DBG("scd4x: CO₂=%u ppm, Temperature=%.2lf °C, Humidity=%.2lf %%RH",
		scd4x_sm.co2, sensor_value_to_double(&scd4x_sm.temperature), sensor_value_to_double(&scd4x_sm.humidity));

	}

	/* Read the PM sensor */
	err = sps30_sensor_read(&sps30_sm);
	if (err) {
		LOG_ERR("Failed to read from PM Sensor SPS30: %d", err);
	} else {
		LOG_DBG("sps30: "
		"PM1.0=%f μg/m³, PM2.5=%f μg/m³, "
		"PM4.0=%f μg/m³, PM10.0=%f μg/m³, "
		"NC0.5=%f #/cm³, NC1.0=%f #/cm³, "
		"NC2.5=%f #/cm³, NC4.0=%f #/cm³, "
		"NC10.0=%f #/cm³, Typical Particle Size=%f μm",
		sensor_value_to_double(&sps30_sm.mc_1p0), sensor_value_to_double(&sps30_sm.mc_2p5), sensor_value_to_double(&sps30_sm.mc_4p0),
		sensor_value_to_double(&sps30_sm.mc_10p0), sensor_value_to_double(&sps30_sm.nc_0p5), sensor_value_to_double(&sps30_sm.nc_1p0),
		sensor_value_to_double(&sps30_sm.nc_2p5), sensor_value_to_double(&sps30_sm.nc_4p0), sensor_value_to_double(&sps30_sm.nc_10p0),
		sensor_value_to_double(&sps30_sm.typical_particle_size));
	}

	/* Send sensor data to Golioth */
	LOG_DBG("Sending sensor data to Golioth");

	snprintk(json_buf, sizeof(json_buf), JSON_FMT,
		 sensor_value_to_double(&bme280_sm.temperature),
		 sensor_value_to_double(&bme280_sm.pressure),
		 sensor_value_to_double(&bme280_sm.humidity), scd4x_sm.co2,
		 sensor_value_to_double(&sps30_sm.mc_1p0), sensor_value_to_double(&sps30_sm.mc_2p5),
		 sensor_value_to_double(&sps30_sm.mc_4p0),
		 sensor_value_to_double(&sps30_sm.mc_10p0),
		 sensor_value_to_double(&sps30_sm.nc_0p5), sensor_value_to_double(&sps30_sm.nc_1p0),
		 sensor_value_to_double(&sps30_sm.nc_2p5), sensor_value_to_double(&sps30_sm.nc_4p0),
		 sensor_value_to_double(&sps30_sm.nc_10p0),
		 sensor_value_to_double(&sps30_sm.typical_particle_size));

	err = golioth_stream_push_cb(client, "sensor", GOLIOTH_CONTENT_FORMAT_APP_JSON, json_buf,
				     strlen(json_buf), async_error_handler, NULL);
	if (err) {
		LOG_ERR("Failed to send sensor data to Golioth: %d", err);
	}

	IF_ENABLED(CONFIG_LIB_OSTENTUS, (
		/* Update slide values on Ostentus
		 *  -values should be sent as strings
		 *  -use the enum from app_work.h for slide key values
		 */
		snprintk(json_buf, sizeof(json_buf), "%.2f °C", sensor_value_to_double(&bme280_sm.temperature));
		slide_set(TEMPERATURE, json_buf, strlen(json_buf));

		snprintk(json_buf, sizeof(json_buf), "%.2f kPa", sensor_value_to_double(&bme280_sm.pressure));
		slide_set(PRESSURE, json_buf, strlen(json_buf));

		snprintk(json_buf, sizeof(json_buf), "%.2f %%RH", sensor_value_to_double(&bme280_sm.humidity));
		slide_set(HUMIDITY, json_buf, strlen(json_buf));

		snprintk(json_buf, sizeof(json_buf), "%u ppm", scd4x_sm.co2);
		slide_set(CO2, json_buf, strlen(json_buf));

		snprintk(json_buf, sizeof(json_buf), "%d ug/m^3", sps30_sm.mc_2p5.val1);
		slide_set(PM2P5, json_buf, strlen(json_buf));

		snprintk(json_buf, sizeof(json_buf), "%d ug/m^3", sps30_sm.mc_10p0.val1);
		slide_set(PM10P0, json_buf, strlen(json_buf));
	));
}

void app_work_init(struct golioth_client *work_client)
{
	client = work_client;
}
```

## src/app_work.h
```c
/*
 * Copyright (c) 2023 Golioth, Inc.
 *
 * SPDX-License-Identifier: Apache-2.0
 */

/** The `app_work.c` file performs the important work of this application which
 * is to read sensor values and report them to the Golioth LightDB Stream as
 * time-series data.
 *
 * https://docs.golioth.io/firmware/zephyr-device-sdk/light-db-stream/
 */

#ifndef __APP_WORK_H__
#define __APP_WORK_H__

#include <net/golioth/system_client.h>

#define LABEL_TEMPERATURE "Temperature"
#define LABEL_PRESSURE	  "Pressure"
#define LABEL_HUMIDITY	  "Humidity"
#define LABEL_CO2	  "CO2"
#define LABEL_PM2P5	  "PM2.5"
#define LABEL_PM10P0	  "PM10.0"
#define LABEL_BATTERY	  "Battery"
#define LABEL_FIRMWARE	  "Firmware"
#define SUMMARY_TITLE	  "Air Quality"

/**
 * Each Ostentus slide needs a unique key. You may add additional slides by
 * inserting elements with the name of your choice to this enum.
 */
typedef enum {
	TEMPERATURE,
	PRESSURE,
	HUMIDITY,
	CO2,
	PM2P5,
	PM10P0,
#ifdef CONFIG_ALUDEL_BATTERY_MONITOR
	BATTERY_V,
	BATTERY_LVL,
#endif
	FIRMWARE
} slide_key;

void app_work_init(struct golioth_client *work_client);
void app_work_sensor_read(void);

#endif /* __APP_WORK_H__ */
```

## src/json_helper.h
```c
/*
 * Copyright (c) 2022 Golioth, Inc.
 *
 * SPDX-License-Identifier: Apache-2.0
 */

#ifndef __JSON_HELPER_H_
#define __JSON_HELPER_H_

#include <zephyr/data/json.h>

struct air_quality_state {
	int32_t example_int0;
	int32_t example_int1;
};

static const struct json_obj_descr air_quality_state_descr[] = {
	JSON_OBJ_DESCR_PRIM(struct air_quality_state, example_int0, JSON_TOK_NUMBER),
	JSON_OBJ_DESCR_PRIM(struct air_quality_state, example_int1, JSON_TOK_NUMBER)};

#endif
```
